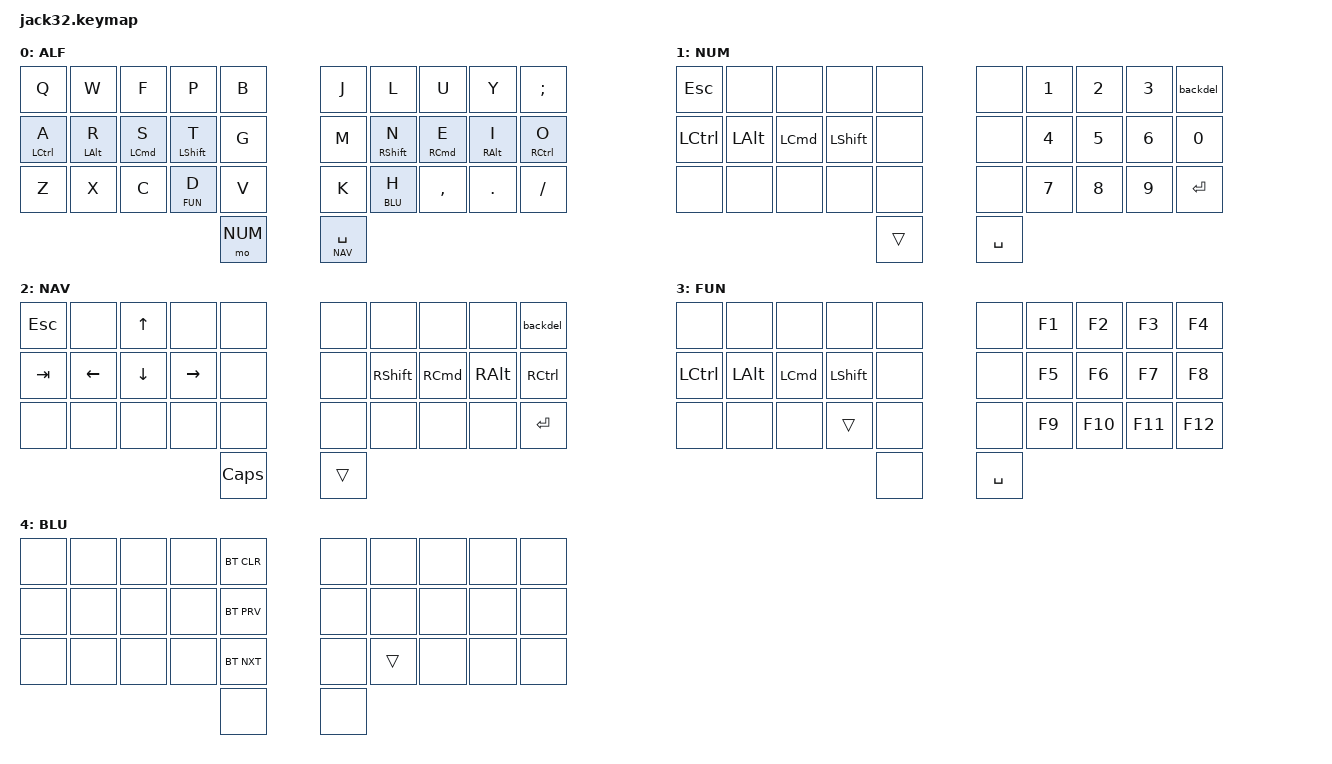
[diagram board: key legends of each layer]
#include <behaviors.dtsi>
#include <dt-bindings/zmk/keys.h>
#include <dt-bindings/zmk/bt.h>

#define ALF 0
#define NUM 1
#define NAV 2
#define FUN 3
#define BLU 4

/ {
    behaviors {
        
        ht: hold_tap {
            compatible = "zmk,behavior-hold-tap";
            #binding-cells = <2>;
            flavor = "tap-preferred";
            tapping-term-ms = <200>;
            quick-tap-ms = <125>;
            bindings = <&kp>, <&kp>;
        };

        backdel: BACKSPACE_DELETE {
            compatible = "zmk,behavior-mod-morph";
            #binding-cells = <0>;
            bindings = <&kp BACKSPACE>, <&kp DELETE>;
            mods = <(MOD_LSFT)>;
        };
    };

    combos {
        compatible = "zmk,combos";

        // left hand
        combo_tilde {
            timeout-ms = <50>;
            key-positions = <0 1>;
            layers = <0>;
            bindings = <&kp GRAVE>;
        };

        combo_minus {
            timeout-ms = <50>;
            key-positions = <1 2>;
            layers = <0>;
            bindings = <&kp MINUS>;
        };

        combo_plus {
            timeout-ms = <50>;
            key-positions = <2 3>;
            layers = <0>;
            bindings = <&kp EQUAL>;
        };

        combo_less_than {
            timeout-ms = <50>;
            key-positions = <21 22>;
            layers = <0>;
            bindings = <&kp LT>;
        };

        combo_left_bracket {
            timeout-ms = <50>;
            key-positions = <23 10>;
            layers = <0>;
            bindings = <&kp LBKT>;
        };

        combo_left_brace {
            timeout-ms = <50>;
            key-positions = <23 11>;
            layers = <0>;
            bindings = <&kp LBRC>;
        };

        combo_left_parenthesis {
            timeout-ms = <50>;
            key-positions = <23 12>;
            layers = <0>;
            bindings = <&kp LPAR>;
        };

        // right hand
        combo_double_quote {
            timeout-ms = <50>;
            key-positions = <6 7>;
            layers = <0>;
            bindings = <&kp SQT>;
        };

        combo_backslash {
            timeout-ms = <50>;
            key-positions = <7 8>;
            layers = <0>;
            bindings = <&kp BSLH>;
        };

        combo_greater_than {
            timeout-ms = <50>;
            key-positions = <27 28>;
            layers = <0>;
            bindings = <&kp GT>;
        };

        combo_right_parenthesis {
            timeout-ms = <50>;
            key-positions = <26 17>;
            layers = <0>;
            bindings = <&kp RPAR>;
        };

        combo_right_brace {
            timeout-ms = <50>;
            key-positions = <26 18>;
            layers = <0>;
            bindings = <&kp RBRC>;
        };

        combo_right_bracket {
            timeout-ms = <50>;
            key-positions = <26 19>;
            layers = <0>;
            bindings = <&kp RBKT>;
        };

        combo_space {
            timeout-ms = <50>;
            key-positions = <26 27>;
            layers = <0>;
            bindings = <&kp SPC>;
        };

        combo_comma {
            timeout-ms = <50>;
            key-positions = <26 27>;
            layers = <1>;
            bindings = <&kp COMMA>;
        };

        combo_dot {
            timeout-ms = <50>;
            key-positions = <27 28>;
            layers = <1>;
            bindings = <&kp DOT>;
        };

        // both hands
        combo_bootloader {
            timeout-ms = <50>;
            key-positions = <0 9>;
            layers = <4>;
            bindings = <&bootloader>;
        };
        combo_reset {
            timeout-ms = <50>;
            key-positions = <20 29>;
            layers = <4>;
            bindings = <&sys_reset>;
        };
    };

    keymap {
        compatible = "zmk,keymap";

        ALF { bindings = <
                &kp Q       &kp W       &kp F       &kp P       &kp B       &kp J       &kp L       &kp U       &kp Y       &kp SEMI
                &ht LCTRL A &ht LALT R  &ht LCMD S  &ht LSHFT T &kp G       &kp M       &ht RSHFT N &ht RCMD E  &ht RALT I  &ht RCTRL O
                &kp Z       &kp X       &kp C       &lt FUN D   &kp V       &kp K       &lt BLU H   &kp COMMA   &kp DOT     &kp SLASH
                                                                &mo NUM     &lt NAV SPC
            >;
        };

        NUM { bindings = <
                &kp ESC     &none       &none       &none       &none       &none       &kp N1      &kp N2      &kp N3      &backdel
                &kp LCTRL   &kp LALT    &kp LCMD    &kp LSHFT   &none       &none       &kp N4      &kp N5      &kp N6      &kp N0
                &none       &none       &none       &none       &none       &none       &kp N7      &kp N8      &kp N9      &kp RET
                                                                &trans      &kp SPC
            >;
        };

        NAV { bindings = <
                &kp ESC     &none       &kp UP      &none       &none       &none       &none       &none       &none       &backdel
                &kp TAB     &kp LEFT    &kp DOWN    &kp RIGHT   &none       &none       &kp RSHFT   &kp RCMD    &kp RALT    &kp RCTRL
                &none       &none       &none       &none       &none       &none       &none       &none       &none       &kp RET
                                                                &kp CAPS    &trans
            >;
        };

        FUN { bindings = <
                &none       &none       &none       &none       &none       &none       &kp F1      &kp F2      &kp F3      &kp F4
                &kp LCTRL   &kp LALT    &kp LCMD    &kp LSHFT   &none       &none       &kp F5      &kp F6      &kp F7      &kp F8
                &none       &none       &none       &trans      &none       &none       &kp F9      &kp F10     &kp F11     &kp F12
                                                                &none       &kp SPC
            >;
        };
        BLU { bindings = <
                &none       &none       &none       &none       &bt BT_CLR  &none       &none       &none       &none       &none
                &none       &none       &none       &none       &bt BT_PRV  &none       &none       &none       &none       &none
                &none       &none       &none       &none       &bt BT_NXT  &none       &trans      &none       &none       &none
                                                                &none       &none
            >;
        };
    };
};
